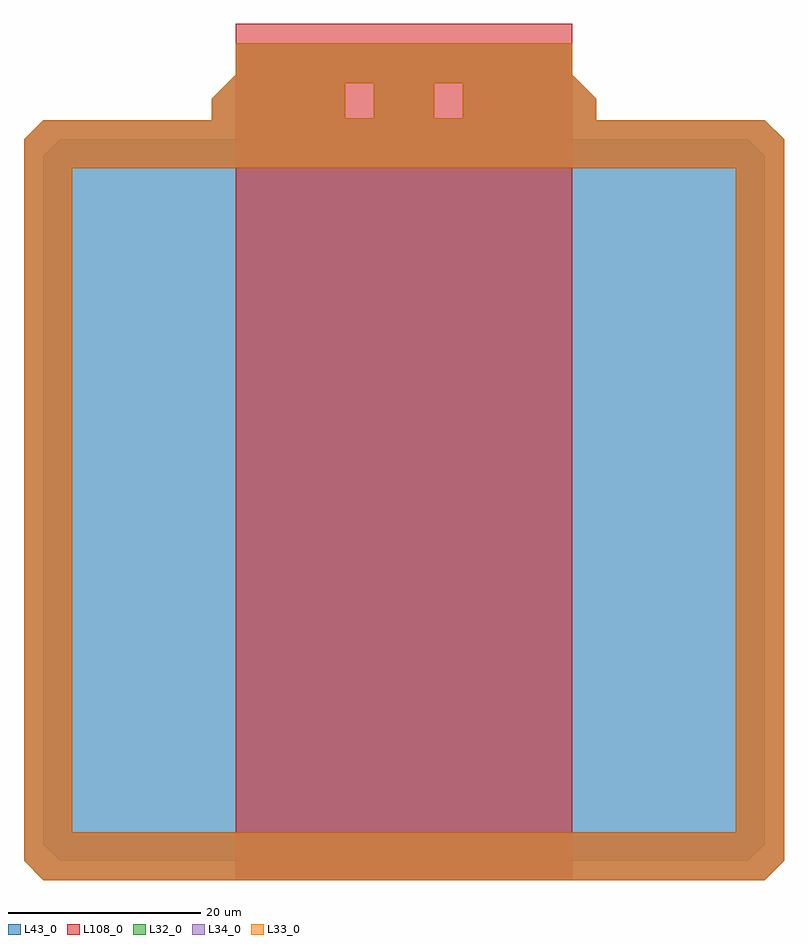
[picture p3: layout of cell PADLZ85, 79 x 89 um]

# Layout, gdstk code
import gdstk
lib = gdstk.Library(unit=1e-6, precision=1e-09)
def R(c, l, rs):  # rectangles x0, y0, x1, y1
    for r in rs: c.add(gdstk.rectangle(r[:2], r[2:], *l))
def P(c, l, *ps):  # polygons
    for p in ps: c.add(gdstk.Polygon(p, *l))
L32_0 = (32, 0)
L33_0 = (33, 0)
L34_0 = (34, 0)
L43_0 = (43, 0)
L108_0 = (108, 0)

padlz85 = lib.new_cell('PADLZ85')
P(padlz85, L32_0, [(79,77),(74,77),(74,0),(77,0),(79,2)],
  [(79,77),(77,79),(2,79),(0,77),(0,74),(79,74)],
  [(76.93,5),(0,5),(0,2),(2,0),(76.93,0)],
  [(5,77),(0,77),(0,2),(2,0),(5,0)],
  [(59.5,77),(42.62,77),(42.62,79.2),(45.62,79.2),(45.62,82.825),(42.62,82.825),(42.62,77),(33.38,77),(33.38,79.2),(36.38,79.2),(36.38,82.825),(33.38,82.825),(33.38,77),(19.5,77),(19.5,81.2),(22,83.7),(22,87),(57,87),(57,83.7),(59.5,81.2)])
P(padlz85, L33_0, [(79,77),(77,79),(2,79),(0,77),(0,74),(79,74)],
  [(5,77),(0,77),(0,2),(2,0),(5,0)],
  [(79,77),(74,77),(74,0),(77,0),(79,2)],
  [(59.5,77),(42.62,77),(42.62,79.2),(45.62,79.2),(45.62,82.825),(42.62,82.825),(42.62,77),(33.38,77),(33.38,79.2),(36.38,79.2),(36.38,82.825),(33.38,82.825),(33.38,77),(19.5,77),(19.5,81.2),(22,83.7),(22,87),(57,87),(57,83.7),(59.5,81.2)])
P(padlz85, L34_0, [(79,77),(77,79),(2,79),(0,77),(0,74),(79,74)],
  [(79,77),(74,77),(74,0),(77,0),(79,2)],
  [(5,77),(0,77),(0,2),(2,0),(5,0)],
  [(76.93,5),(0,5),(0,2),(2,0),(76.93,0)],
  [(59.5,77),(42.62,77),(42.62,79.2),(45.62,79.2),(45.62,82.825),(42.62,82.825),(42.62,77),(33.38,77),(33.38,79.2),(36.38,79.2),(36.38,82.825),(33.38,82.825),(33.38,77),(19.5,77),(19.5,81.2),(22,83.7),(22,87),(57,87),(57,83.7),(59.5,81.2)])
P(padlz85, L43_0, [(77,75.25),(75.25,77),(3.75,77),(2,75.25),(2,3.75),(3.75,2),(75.25,2),(77,3.75)])
R(padlz85, L108_0, [(22,0,57,89)])
padlz85.add(gdstk.FlexPath([(2.5,2.5),(76.93,2.5)], 5, ends="flush", simple_path=True, layer=33, datatype=0))  # L33_0

lib.write_gds('PADLZ85.gds')
